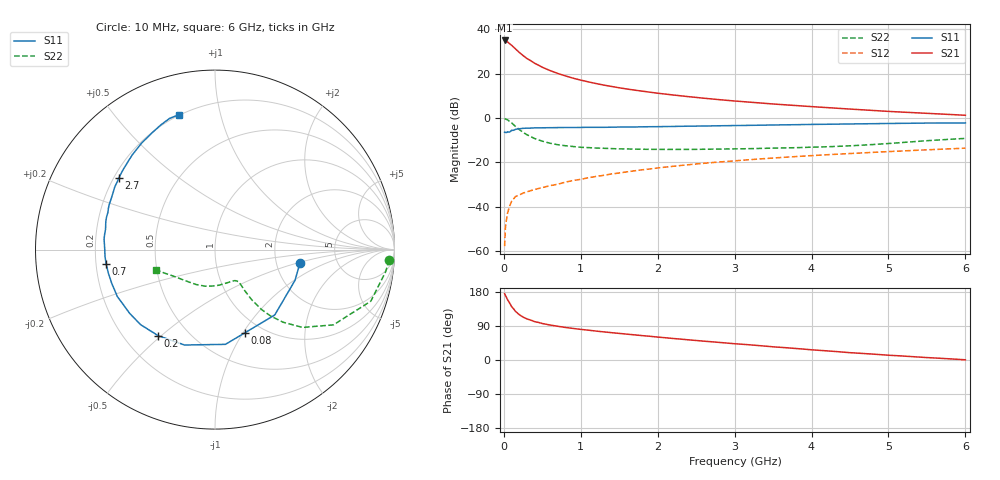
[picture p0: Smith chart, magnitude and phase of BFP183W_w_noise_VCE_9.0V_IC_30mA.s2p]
! Infineon Technologies  Discrete & RF Semiconductors
! BFP183W
! VCE =  9.0 V,  IC =  30 mA
! Common Emitter S-Parameters:  Jan 2017
# GHz  S  MA  R  50
!  f  S11  S21  S12  S22
! GHz  MAG  ANG  MAG  ANG  MAG  ANG  MAG  ANG
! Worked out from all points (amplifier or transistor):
!   77 points, 10 MHz to 6 GHz, reference 50 ohm
!   highest |S21| = 35.0 dB at 10 MHz (marker M1)
!   |S21| within 3 dB of that: start of sweep to 126.6 MHz
!   unconditionally stable (mu >= 1): 988.5 MHz to 3.412 GHz
!   at 130 MHz: K = 0.28, MSG = 34.1 dB, |S12| = -36.2 dB
!   at 2.2 GHz: K = 1.06, MAG = 14.6 dB, |S12| = -21.7 dB
!   at 6 GHz: K = 0.86, MSG = 7.4 dB, |S12| = -13.5 dB
!   lowest NFmin = 1.39 dB at 450 MHz
!   S11 on the Smith chart (normalised r, x): 10 MHz: 2.73, -0.52; 80 MHz: 0.84, -1.02; 200 MHz: 0.34, -0.49; 700 MHz: 0.24, -0.06; 2.7 GHz: 0.22, +0.32; 6 GHz: 0.20, +0.75
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0.01  0.4794 -8.8  56.28 175.4  0.0013 81.6  0.9719 -3.4
0.02  0.4775 -21.1  55.4 170.5  0.0033 86.9  0.9586 -7.4
0.05  0.4935 -47.6  51.92 158.3  0.0074 72.1  0.9145 -18.3
0.08  0.4921 -70.0  46.71 148.6  0.0109 66.3  0.829 -26.2
0.1  0.5311 -83.7  44.12 141.0  0.0132 64.2  0.7823 -32.4
0.15  0.5581 -107.7  36.5 128.7  0.017 54.5  0.6533 -41.6
0.2  0.5747 -123.4  30.32 119.7  0.0185 50.3  0.5536 -46.9
0.25  0.5889 -134.8  25.7 113.2  0.0204 48.0  0.4786 -50.2
0.3  0.5935 -143.3  22.11 108.4  0.0218 47.8  0.4215 -52.2
0.4  0.6038 -154.4  17.25 101.3  0.0246 49.2  0.3466 -53.8
0.5  0.6053 -162.0  14.01 96.3  0.0272 49.8  0.3023 -54.0
0.6  0.6086 -167.7  11.81 92.3  0.03 52.1  0.2718 -54.1
0.7  0.6117 -172.5  10.17 89.0  0.0323 55.4  0.2514 -53.7
0.9  0.614 -179.7  7.952 83.3  0.0393 57.9  0.229 -53.8
1.1  0.6208 174.6  6.551 78.7  0.0454 58.9  0.2165 -54.7
1.5  0.6288 165.2  4.822 70.2  0.058 61.1  0.2031 -58.6
2.1  0.6452 153.3  3.481 58.7  0.0787 61.0  0.197 -69.8
2.7  0.6677 143.2  2.707 48.1  0.0992 58.9  0.1996 -84.8
3.1  0.6832 136.9  2.359 41.5  0.1124 57.0  0.2038 -95.2
4.1  0.7238 123.3  1.772 25.5  0.1461 51.5  0.2235 -121.6
5.1  0.7601 112.6  1.389 11.5  0.1792 45.3  0.2754 -147.6
6  0.7784 104.8  1.16 0.5  0.2104 39.4  0.3495 -161.5
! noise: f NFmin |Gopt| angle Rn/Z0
0.45  1.39  0.27  180  0.1
0.9  1.43  0.3  -178  0.09
1.9  1.92  0.45  -156  0.1
2.4  2.17  0.5  -152  0.15
